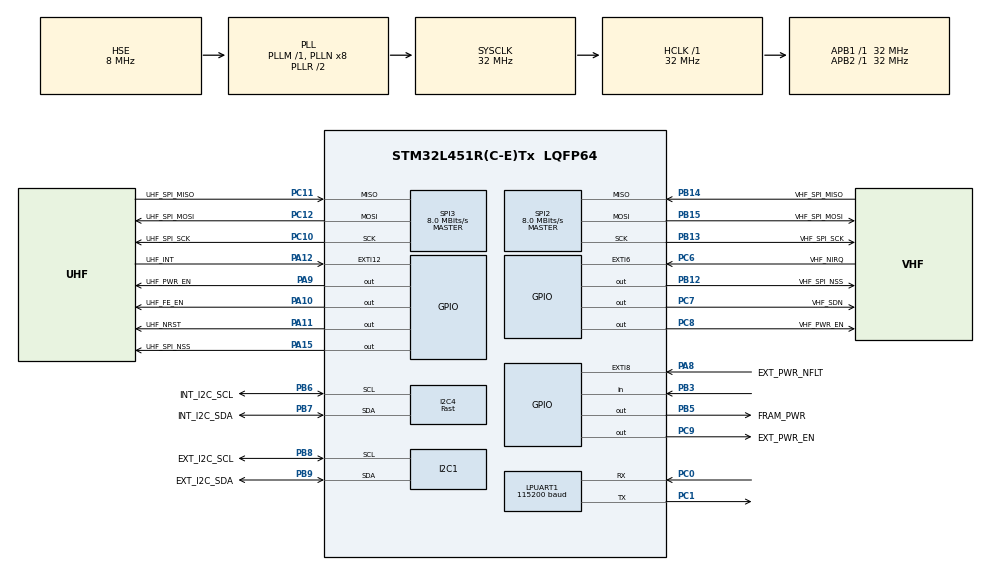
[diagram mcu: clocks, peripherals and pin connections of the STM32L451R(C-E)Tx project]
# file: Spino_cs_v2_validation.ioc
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I2C1.NoStretchMode=I2C_NOSTRETCH_DISABLE
I2C1.OwnAddress=0x00
I2C1.Timing=0x00B07CB4
I2C4.I2C_Speed_Mode=I2C_Fast
I2C4.NoStretchMode=I2C_NOSTRETCH_DISABLE
I2C4.Speed=100
I2C4.Timing=0x006039F7
LPUART1.BaudRate=115200
LPUART1.WordLength=UART_WORDLENGTH_8B
Mcu.Family=STM32L4
Mcu.Name=STM32L451R(C-E)Tx
Mcu.Package=LQFP64
NVIC.EXTI15_10_IRQn=true\:0\:0\:false\:false\:true\:true\:true\:true
NVIC.EXTI9_5_IRQn=true\:0\:0\:false\:false\:true\:true\:true\:true
NVIC.I2C1_EV_IRQn=true\:0\:0\:false\:false\:true\:true\:true\:true
NVIC.I2C4_ER_IRQn=true\:0\:0\:false\:false\:true\:true\:true\:true
NVIC.I2C4_EV_IRQn=true\:0\:0\:false\:false\:true\:true\:true\:true
NVIC.PriorityGroup=NVIC_PRIORITYGROUP_4
NVIC.TIM2_IRQn=true\:0\:0\:false\:false\:true\:true\:true\:true
PA10.GPIO_Label=UHF_FE_EN
PA10.Signal=GPIO_Output
PA11.GPIO_Label=UHF_NRST
PA11.Signal=GPIO_Output
PA12.GPIO_Label=UHF_INT
PA12.GPIO_ModeDefaultEXTI=GPIO_MODE_IT_FALLING
PA12.Signal=GPXTI12
PA15\ (JTDI).GPIO_Label=UHF_SPI_NSS
PA15\ (JTDI).Signal=GPIO_Output
PA8.GPIO_Label=EXT_PWR_NFLT
PA8.GPIO_ModeDefaultEXTI=GPIO_MODE_IT_FALLING
PA8.Signal=GPXTI8
PA9.GPIO_Label=UHF_PWR_EN
PA9.Signal=GPIO_Output
PB12.GPIO_Label=VHF_SPI_NSS
PB12.Signal=GPIO_Output
PB13.GPIO_Label=VHF_SPI_SCK
PB13.Mode=Full_Duplex_Master
PB13.Signal=SPI2_SCK
PB14.GPIO_Label=VHF_SPI_MISO
PB14.Mode=Full_Duplex_Master
PB14.Signal=SPI2_MISO
PB15.GPIO_Label=VHF_SPI_MOSI
PB15.Mode=Full_Duplex_Master
PB15.Signal=SPI2_MOSI
PB3\ (JTDO/TRACESWO).Signal=GPIO_Input
PB5.GPIO_Label=FRAM_PWR
PB5.Signal=GPIO_Output
PB6.GPIO_Label=INT_I2C_SCL
PB6.Mode=I2C
PB6.Signal=I2C4_SCL
PB7.GPIO_Label=INT_I2C_SDA
PB7.Mode=I2C
PB7.Signal=I2C4_SDA
PB8.GPIO_Label=EXT_I2C_SCL
PB8.Mode=I2C
PB8.Signal=I2C1_SCL
PB9.GPIO_Label=EXT_I2C_SDA
PB9.Mode=I2C
PB9.Signal=I2C1_SDA
PC0.Mode=Asynchronous
PC0.Signal=LPUART1_RX
PC1.Mode=Asynchronous
PC1.Signal=LPUART1_TX
PC10.GPIO_Label=UHF_SPI_SCK
PC10.Mode=Full_Duplex_Master
PC10.Signal=SPI3_SCK
PC11.GPIO_Label=UHF_SPI_MISO
PC11.Mode=Full_Duplex_Master
PC11.Signal=SPI3_MISO
PC12.GPIO_Label=UHF_SPI_MOSI
PC12.Mode=Full_Duplex_Master
PC12.Signal=SPI3_MOSI
PC14-OSC32_IN\ (PC14).Mode=LSE-External-Oscillator
PC14-OSC32_IN\ (PC14).Signal=RCC_OSC32_IN
PC15-OSC32_OUT\ (PC15).Mode=LSE-External-Oscillator
PC15-OSC32_OUT\ (PC15).Signal=RCC_OSC32_OUT
PC6.GPIO_Label=VHF_NIRQ
PC6.GPIO_ModeDefaultEXTI=GPIO_MODE_IT_FALLING
PC6.Signal=GPXTI6
PC7.GPIO_Label=VHF_SDN
PC7.Signal=GPIO_Output
PC8.GPIO_Label=VHF_PWR_EN
PC8.Signal=GPIO_Output
PC9.GPIO_Label=EXT_PWR_EN
PC9.Signal=GPIO_Output
PH0-OSC_IN\ (PH0).Mode=HSE-External-Oscillator
PH0-OSC_IN\ (PH0).Signal=RCC_OSC_IN
PH1-OSC_OUT\ (PH1).Mode=HSE-External-Oscillator
PH1-OSC_OUT\ (PH1).Signal=RCC_OSC_OUT
ProjectManager.HeapSize=0x200
ProjectManager.StackSize=0x400
ProjectManager.TargetToolchain=STM32CubeIDE
RCC.ADCFreq_Value=32000000
RCC.AHBFreq_Value=32000000
RCC.APB1Freq_Value=32000000
RCC.APB1TimFreq_Value=32000000
RCC.APB2Freq_Value=32000000
RCC.APB2TimFreq_Value=32000000
RCC.CortexFreq_Value=32000000
RCC.HCLKFreq_Value=32000000
RCC.HSE_VALUE=8000000
RCC.HSI48_VALUE=48000000
RCC.HSI_VALUE=16000000
RCC.MSI_VALUE=4000000
RCC.PLLSourceVirtual=RCC_PLLSOURCE_HSE
RCC.RTCClockSelection=RCC_RTCCLKSOURCE_LSE
RCC.SYSCLKFreq_VALUE=32000000
RCC.SYSCLKSource=RCC_SYSCLKSOURCE_PLLCLK
RCC.VCOOutputFreq_Value=64000000
SPI2.BaudRatePrescaler=SPI_BAUDRATEPRESCALER_4
SPI2.CalculateBaudRate=8.0 MBits/s
SPI2.DataSize=SPI_DATASIZE_8BIT
SPI2.Direction=SPI_DIRECTION_2LINES
SPI2.Mode=SPI_MODE_MASTER
SPI2.VirtualType=VM_MASTER
SPI3.BaudRatePrescaler=SPI_BAUDRATEPRESCALER_4
SPI3.CalculateBaudRate=8.0 MBits/s
SPI3.DataSize=SPI_DATASIZE_8BIT
SPI3.Direction=SPI_DIRECTION_2LINES
SPI3.Mode=SPI_MODE_MASTER
SPI3.VirtualType=VM_MASTER
TIM2.Period=999
TIM2.Prescaler=32000
VP_RTC_VS_RTC_Activate.Mode=RTC_Enabled
VP_TIM2_VS_ClockSourceINT.Mode=Internal
board=custom

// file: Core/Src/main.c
/* USER CODE BEGIN Header */
/**
 ******************************************************************************
 * @file : main.c
 * @brief : Main program body
 ******************************************************************************
 * @attention
 *
 * Copyright (c) 2024 STMicroelectronics.
 * All rights reserved.
 *
 * This software is licensed under terms that can be found in the LICENSE file
 * in the root directory of this software component.
 * If no LICENSE file comes with this software, it is provided AS-IS.
 *
 ******************************************************************************
 */
/* USER CODE END Header */
#include "main.h"

/* USER CODE BEGIN Includes */
#include "stdio.h"
#include "string.h"
#include "SI4463.h"
#include "ADF7030.h"
#include "core/control.h"
#include "core/setup.h"
#include "drivers/modem.h"
#include "payloadMode/payloadMode.h"
#include "SpinoDriver/spUART.h"
/* USER CODE END Includes */

/* USER CODE BEGIN PD */
//SPINO FUNCTIONAL
#define DELAY_SPINO 1000

//bessel start
#define VEML7700_ADDR 0x10 << 1 // Adresse I2C du VEML7700
//bessel end

#define SYSTICK_LOAD (SystemCoreClock/1000000U)
#define SYSTICK_DELAY_CALIB (SYSTICK_LOAD >> 1)

/* USER CODE END PD */

I2C_HandleTypeDef hi2c1;
I2C_HandleTypeDef hi2c4;

UART_HandleTypeDef hlpuart1;

RTC_HandleTypeDef hrtc;

SPI_HandleTypeDef hspi2;
SPI_HandleTypeDef hspi3;

TIM_HandleTypeDef htim2;

void SystemClock_Config(void);
static void MX_GPIO_Init(void);
static void MX_I2C1_Init(void);
static void MX_I2C4_Init(void);
static void MX_LPUART1_UART_Init(void);
static void MX_RTC_Init(void);
static void MX_SPI2_Init(void);
static void MX_SPI3_Init(void);
static void MX_TIM2_Init(void);
/* USER CODE BEGIN PFP */
extern void ModemOpen();
void SystemClock_Config(void);

/* USER CODE BEGIN PFP */

//bessel start
void VEML7700_WriteRegister(uint8_t reg, uint16_t value);
uint16_t VEML7700_ReadRegister(uint8_t reg);
void VEML7700_Init(void);
float VEML7700_GetLux(void);
void AfficherLumiere(float lux);
void I2C_Scan();
//bessel end

/* USER CODE END PFP */

/* USER CODE BEGIN 0 */

/* Gestion code Erreur au démarrage */
int gv_error_code;
int gv_error_subcode;
extern char gv_spino_data_avalable;
SI44_STATES current_vhf_state = IDLE;
extern uint8_t uhf_txbuffer[PAYLOAD_SIZE];
extern s_I2C_data gv_I2C_Write_Data[I2CMAXDATA];
volatile uint8_t CSKB_I2C_TX_BUFFER[I2C_BUFFER_SIZE];
volatile unsigned long long lv_RX_FETCH=0;

//bessel start

float lux = 0.0;

void I2C_Scan() {
    char msg[50]; // Augmentation de la taille du tampon pour snprintf
    uint8_t found = 0;

    snprintf(msg, sizeof(msg), "Scanning I2C...\r\n"); // Utilisation de snprintf
    writeUART((unsigned char*)msg, strlen(msg)); // Utilisation de strlen pour la taille

    for (uint8_t i = 0x10; i <=0x11 ; i++) {
        if (HAL_I2C_IsDeviceReady(&hi2c1, (i << 1), 1, 100) == HAL_OK) {
            snprintf(msg, sizeof(msg), "Device found at 0x%X\r\n", i); // Utilisation de snprintf
            writeUART((unsigned char*)msg, strlen(msg)); // Utilisation de strlen pour la taille
            found = 1;
        }
    }

    if (!found) {
        snprintf(msg, sizeof(msg), "No I2C device found!\r\n"); // Utilisation de snprintf
        writeUART((unsigned char*)msg, strlen(msg)); // Utilisation de strlen pour la taille
    }

    snprintf(msg, sizeof(msg), "Scan Complete\r\n"); // Utilisation de snprintf
    writeUART((unsigned char*)msg, strlen(msg)); // Utilisation de strlen pour la taille
}

// Fonction pour écrire une valeur dans un registre du capteur VEML7700
// Paramètres :
//   - reg : adresse du registre où écrire
//   - value : valeur 16 bits à écrire
// Fonction pour écrire une valeur dans un registre du capteur VEML7700
void VEML7700_WriteRegister(uint8_t reg, uint16_t value) {
    uint8_t data[3];
    data[0] = reg;
    data[1] = value & 0xFF;
    data[2] = (value >> 8) & 0xFF;
}

// Fonction pour lire un registre
uint16_t VEML7700_ReadRegister(uint8_t reg) {
    uint8_t data[2] = {0};
    return (data[1] << 8) | data[0]; // Conversion Little Endian
}

// Fonction pour initialiser le capteur VEML7700
// Configure le capteur avec un gain et un temps d'intégration par défaut
void VEML7700_Init(void) {
	VEML7700_WriteRegister(0x00, 0x0000);
    HAL_Delay(10);
}

// Fonction pour lire la valeur de luminosité mesurée par le VEML7700
// Retourne : la valeur en lux
float VEML7700_GetLux(void) {
	uint16_t raw = VEML7700_ReadRegister(0x04); // Lecture de la valeur brute du capteur
	return raw * 0.0036; // Conversion de la val eur brute en lux selon la documentation du capteur
}

// Fonction pour afficher la valeur de luminosité via l'UART
// Paramètre :
//   - lux : valeur de luminosité en lux
void AfficherLumiere(float lux) {
	char buffer[50]; // Tampon pour stocker le message formaté
	snprintf(buffer, sizeof(buffer), "Lux: %.2f lx\r\n", lux); // Formatage de la valeur
	writeUART((unsigned char*)buffer, strlen(buffer)); // Utilisation de strlen pour la taille
}
//bessel end

/* USER CODE END 0 */

int main(void)
{

  /* MCU Configuration--------------------------------------------------------*/

  /* Reset of all peripherals, Initializes the Flash interface and the Systick. */
  HAL_Init();

  /* Configure the system clock */
  SystemClock_Config();

  /* Initialize all configured peripherals */
  MX_GPIO_Init();
  MX_I2C1_Init();
  MX_I2C4_Init();
  MX_LPUART1_UART_Init();
  MX_RTC_Init();
  MX_SPI2_Init();
  MX_SPI3_Init();
  MX_TIM2_Init();
  /* USER CODE BEGIN 2 */

	/* Init vhf packet access */
	for(uint8_t i = 0; i < NB_FETCH; i++) {
		vhf_packet_accessor[i] = &vhf_packet[1 + i * (RX_FIFO_THRES+1)];
		// vhf_packet_accessor[i] = vhf_packet[1 + i * (RX_FIFO_THRES+1)];
	}

	/* Init Timer */
	HAL_TIM_Base_Start_IT(&htim2);

	/* Init OBC I2C Interruption */
	HAL_I2C_EnableListen_IT(&hi2c1);

	/* Init ADF7030 with blocking SPI *
	 * *
	 */
	uint8_t mode=0;
	config_ADF7030(mode);
	init_uhf_txbuffer();

	/* Init SI4461 with blocking
	 *
	 */
	MX_SPI2_Init();
	power_vhf(1);
	reset_si4463();
	HAL_Delay(20);

	uint8_t conf_stat = config_si4463();

	uint8_t chiprev = si446x_part_info();

	// Clearing all interrupt in the SI446x
	si446x_get_int_status(0, 0, 0);

	//init_rx_irq();
	HAL_Delay(1);

	VHF_rstfifo_startrx();

	current_vhf_state = RX_PENDING;

	/********** SPINO Functional Initialisation ********/

	setupGlobalVariable();
	inittlm();
	ModemOpen();
	setModemMode(gv_spinoConfig.spinoTXModemMode);

	/* Mode UART - A virer */
	// envoie version :)
	//unsigned char message[] = "SPINO UART 0.1";
	//writeUART(message, sizeof(message) );

	sendTLMWithoutDelay();

	//bessel start
	I2C_Scan();
	VEML7700_Init();
	//bessel end

  /* USER CODE END 2 */

  /* Infinite loop */
  /* USER CODE BEGIN WHILE */
	uint8_t ReArm_I2C = 0;

	while (1)
	{
		/** SPINO*/

		if(CSKB_I2C_TX_Complete || CSKB_I2C_RX_Complete) {
			ReArm_I2C = 1;
			if(CSKB_I2C_TX_Complete) {
				// Do something here

				CSKB_I2C_TX_Complete = 0;
			} else {
				// Use your data here
				gv_I2C_Write_Data[gv_spino.gv_nb_I2CMAXDATA].size = CSKB_I2C_RX_Size;
				for(uint8_t i = 0; i < CSKB_I2C_RX_Size; i++) {
					gv_I2C_Write_Data[gv_spino.gv_nb_I2CMAXDATA].data[i] = CSKB_I2C_RX_BUFFER[i];
				}
				gv_spino.gv_nb_I2CMAXDATA = ((gv_spino.gv_nb_I2CMAXDATA+1) % I2CMAXDATA );

				// Use CSKB_I2C_NXT_FrameSize if you want the slave to stop transmission after byte count
				// Set to zero if you want the slave to continue answering up to I2C_BUFFER_SIZE
				CSKB_I2C_NXT_FrameSize = CSKB_I2C_RX_Size;

				CSKB_I2C_RX_Complete = 0;
			}

		}
		if(ReArm_I2C && HAL_I2C_GetState(&hi2c1) == HAL_I2C_STATE_READY) {
			ReArm_I2C = 0;
			HAL_I2C_EnableListen_IT(&hi2c1);
		}

		/** SPINO */
		if(VHF_Data_Ready == 1) {
			// Process your data from VHF radio
			lv_RX_FETCH =0;
			gv_spino_data_avalable=1;
			readDataRX(vhf_packet_accessor);
			VHF_Data_Ready = 0;
			si446x_get_int_status(0, 0, 0);
			VHF_fifo_data_count = 0;
			VHF_rstfifo_startrx();
			current_vhf_state = RX_PENDING;
		} else if(vhf_overflow) {
			// Problem to fetch data

		}

		// BLocking uart transmit
		//char test_uart[] = "test uart 115200\n";
		//HAL_UART_Transmit(&huart1, test_uart, sizeof(test_uart), HAL_MAX_DELAY);
		//writeUART("Hello world", 100);

		//*****SPINO Functional State Machine
		control();
		HAL_Delay(500);
		// Reset en cas de Rx bloque
		if((lv_RX_FETCH !=0) && ( (gv_spino.timestamps - lv_RX_FETCH) > 200 ) )
		{
			reset_si4463();
			HAL_Delay(20);

			uint8_t conf_stat = config_si4463();

			uint8_t chiprev = si446x_part_info();

			// Clearing all interrupt in the SI446x
			si446x_get_int_status(0, 0, 0);

			VHF_rstfifo_startrx();
			current_vhf_state = RX_PENDING;
			VHF_fifo_data_count =0;
		}
    /* USER CODE END WHILE */

    /* USER CODE BEGIN 3 */

		//bessel start
		float lux = VEML7700_GetLux();
		AfficherLumiere(lux);
		HAL_Delay(2000);
		//bessel end

	}
  /* USER CODE END 3 */
}

void SystemClock_Config(void)
{
  RCC_OscInitTypeDef RCC_OscInitStruct = {0};
  RCC_ClkInitTypeDef RCC_ClkInitStruct = {0};

  /** Configure the main internal regulator output voltage
  */
  if (HAL_PWREx_ControlVoltageScaling(PWR_REGULATOR_VOLTAGE_SCALE1) != HAL_OK)
  {
    Error_Handler();
  }

  /** Configure LSE Drive Capability
  */
  HAL_PWR_EnableBkUpAccess();
  __HAL_RCC_LSEDRIVE_CONFIG(RCC_LSEDRIVE_LOW);

  /** Initializes the RCC Oscillators according to the specified parameters
  * in the RCC_OscInitTypeDef structure.
  */
  RCC_OscInitStruct.OscillatorType = RCC_OSCILLATORTYPE_HSE|RCC_OSCILLATORTYPE_LSE;
  RCC_OscInitStruct.HSEState = RCC_HSE_ON;
  RCC_OscInitStruct.LSEState = RCC_LSE_ON;
  RCC_OscInitStruct.PLL.PLLState = RCC_PLL_ON;
  RCC_OscInitStruct.PLL.PLLSource = RCC_PLLSOURCE_HSE;
  RCC_OscInitStruct.PLL.PLLM = 1;
  RCC_OscInitStruct.PLL.PLLN = 8;
  RCC_OscInitStruct.PLL.PLLP = RCC_PLLP_DIV7;
  RCC_OscInitStruct.PLL.PLLQ = RCC_PLLQ_DIV2;
  RCC_OscInitStruct.PLL.PLLR = RCC_PLLR_DIV2;
  if (HAL_RCC_OscConfig(&RCC_OscInitStruct) != HAL_OK)
  {
    Error_Handler();
  }

  /** Initializes the CPU, AHB and APB buses clocks
  */
  RCC_ClkInitStruct.ClockType = RCC_CLOCKTYPE_HCLK|RCC_CLOCKTYPE_SYSCLK
                              |RCC_CLOCKTYPE_PCLK1|RCC_CLOCKTYPE_PCLK2;
  RCC_ClkInitStruct.SYSCLKSource = RCC_SYSCLKSOURCE_PLLCLK;
  RCC_ClkInitStruct.AHBCLKDivider = RCC_SYSCLK_DIV1;
  RCC_ClkInitStruct.APB1CLKDivider = RCC_HCLK_DIV1;
  RCC_ClkInitStruct.APB2CLKDivider = RCC_HCLK_DIV1;

  if (HAL_RCC_ClockConfig(&RCC_ClkInitStruct, FLASH_LATENCY_1) != HAL_OK)
  {
    Error_Handler();
  }
}

static void MX_I2C1_Init(void)
{

  hi2c1.Instance = I2C1;
  hi2c1.Init.Timing = 0x00B07CB4;
  hi2c1.Init.OwnAddress1 = 0;
  hi2c1.Init.AddressingMode = I2C_ADDRESSINGMODE_7BIT;
  hi2c1.Init.DualAddressMode = I2C_DUALADDRESS_DISABLE;
  hi2c1.Init.OwnAddress2 = 0;
  hi2c1.Init.OwnAddress2Masks = I2C_OA2_NOMASK;
  hi2c1.Init.GeneralCallMode = I2C_GENERALCALL_DISABLE;
  hi2c1.Init.NoStretchMode = I2C_NOSTRETCH_DISABLE;
  if (HAL_I2C_Init(&hi2c1) != HAL_OK)
  {
    Error_Handler();
  }

  /** Configure Analogue filter
  */
  if (HAL_I2CEx_ConfigAnalogFilter(&hi2c1, I2C_ANALOGFILTER_ENABLE) != HAL_OK)
  {
    Error_Handler();
  }

  /** Configure Digital filter
  */
  if (HAL_I2CEx_ConfigDigitalFilter(&hi2c1, 0) != HAL_OK)
  {
    Error_Handler();
  }

}

static void MX_I2C4_Init(void)
{

  hi2c4.Instance = I2C4;
  hi2c4.Init.Timing = 0x006039F7;
  hi2c4.Init.OwnAddress1 = 0;
  hi2c4.Init.AddressingMode = I2C_ADDRESSINGMODE_7BIT;
  hi2c4.Init.DualAddressMode = I2C_DUALADDRESS_DISABLE;
  hi2c4.Init.OwnAddress2 = 0;
  hi2c4.Init.OwnAddress2Masks = I2C_OA2_NOMASK;
  hi2c4.Init.GeneralCallMode = I2C_GENERALCALL_DISABLE;
  hi2c4.Init.NoStretchMode = I2C_NOSTRETCH_DISABLE;
  if (HAL_I2C_Init(&hi2c4) != HAL_OK)
  {
    Error_Handler();
  }

  /** Configure Analogue filter
  */
  if (HAL_I2CEx_ConfigAnalogFilter(&hi2c4, I2C_ANALOGFILTER_ENABLE) != HAL_OK)
  {
    Error_Handler();
  }

  /** Configure Digital filter
  */
  if (HAL_I2CEx_ConfigDigitalFilter(&hi2c4, 0) != HAL_OK)
  {
    Error_Handler();
  }

}

static void MX_LPUART1_UART_Init(void)
{

  hlpuart1.Instance = LPUART1;
  hlpuart1.Init.BaudRate = 115200;
  hlpuart1.Init.WordLength = UART_WORDLENGTH_8B;
  hlpuart1.Init.StopBits = UART_STOPBITS_1;
  hlpuart1.Init.Parity = UART_PARITY_NONE;
  hlpuart1.Init.Mode = UART_MODE_TX_RX;
  hlpuart1.Init.HwFlowCtl = UART_HWCONTROL_NONE;
  hlpuart1.Init.OneBitSampling = UART_ONE_BIT_SAMPLE_DISABLE;
  hlpuart1.AdvancedInit.AdvFeatureInit = UART_ADVFEATURE_NO_INIT;
  if (HAL_UART_Init(&hlpuart1) != HAL_OK)
  {
    Error_Handler();
  }

}

static void MX_RTC_Init(void)
{

  /** Initialize RTC Only
  */
  hrtc.Instance = RTC;
  hrtc.Init.HourFormat = RTC_HOURFORMAT_24;
  hrtc.Init.AsynchPrediv = 127;
  hrtc.Init.SynchPrediv = 255;
  hrtc.Init.OutPut = RTC_OUTPUT_DISABLE;
  hrtc.Init.OutPutRemap = RTC_OUTPUT_REMAP_NONE;
  hrtc.Init.OutPutPolarity = RTC_OUTPUT_POLARITY_HIGH;
  hrtc.Init.OutPutType = RTC_OUTPUT_TYPE_OPENDRAIN;
  if (HAL_RTC_Init(&hrtc) != HAL_OK)
  {
    Error_Handler();
  }

}

static void MX_SPI2_Init(void)
{

  /* SPI2 parameter configuration*/
  hspi2.Instance = SPI2;
  hspi2.Init.Mode = SPI_MODE_MASTER;
  hspi2.Init.Direction = SPI_DIRECTION_2LINES;
  hspi2.Init.DataSize = SPI_DATASIZE_8BIT;
  hspi2.Init.CLKPolarity = SPI_POLARITY_LOW;
  hspi2.Init.CLKPhase = SPI_PHASE_1EDGE;
  hspi2.Init.NSS = SPI_NSS_SOFT;
  hspi2.Init.BaudRatePrescaler = SPI_BAUDRATEPRESCALER_4;
  hspi2.Init.FirstBit = SPI_FIRSTBIT_MSB;
  hspi2.Init.TIMode = SPI_TIMODE_DISABLE;
  hspi2.Init.CRCCalculation = SPI_CRCCALCULATION_DISABLE;
  hspi2.Init.CRCPolynomial = 7;
  hspi2.Init.CRCLength = SPI_CRC_LENGTH_DATASIZE;
  hspi2.Init.NSSPMode = SPI_NSS_PULSE_ENABLE;
  if (HAL_SPI_Init(&hspi2) != HAL_OK)
  {
    Error_Handler();
  }

}

static void MX_SPI3_Init(void)
{

  /* SPI3 parameter configuration*/
  hspi3.Instance = SPI3;
  hspi3.Init.Mode = SPI_MODE_MASTER;
  hspi3.Init.Direction = SPI_DIRECTION_2LINES;
  hspi3.Init.DataSize = SPI_DATASIZE_8BIT;
  hspi3.Init.CLKPolarity = SPI_POLARITY_LOW;
  hspi3.Init.CLKPhase = SPI_PHASE_1EDGE;
  hspi3.Init.NSS = SPI_NSS_SOFT;
  hspi3.Init.BaudRatePrescaler = SPI_BAUDRATEPRESCALER_4;
  hspi3.Init.FirstBit = SPI_FIRSTBIT_MSB;
  hspi3.Init.TIMode = SPI_TIMODE_DISABLE;
  hspi3.Init.CRCCalculation = SPI_CRCCALCULATION_DISABLE;
  hspi3.Init.CRCPolynomial = 7;
  hspi3.Init.CRCLength = SPI_CRC_LENGTH_DATASIZE;
  hspi3.Init.NSSPMode = SPI_NSS_PULSE_ENABLE;
  if (HAL_SPI_Init(&hspi3) != HAL_OK)
  {
    Error_Handler();
  }

}

static void MX_TIM2_Init(void)
{

  TIM_ClockConfigTypeDef sClockSourceConfig = {0};
  TIM_MasterConfigTypeDef sMasterConfig = {0};

  htim2.Instance = TIM2;
  htim2.Init.Prescaler = 32000;
  htim2.Init.CounterMode = TIM_COUNTERMODE_UP;
  htim2.Init.Period = 999;
  htim2.Init.ClockDivision = TIM_CLOCKDIVISION_DIV1;
  htim2.Init.AutoReloadPreload = TIM_AUTORELOAD_PRELOAD_DISABLE;
  if (HAL_TIM_Base_Init(&htim2) != HAL_OK)
  {
    Error_Handler();
  }
  sClockSourceConfig.ClockSource = TIM_CLOCKSOURCE_INTERNAL;
  if (HAL_TIM_ConfigClockSource(&htim2, &sClockSourceConfig) != HAL_OK)
  {
    Error_Handler();
  }
  sMasterConfig.MasterOutputTrigger = TIM_TRGO_RESET;
  sMasterConfig.MasterSlaveMode = TIM_MASTERSLAVEMODE_DISABLE;
  if (HAL_TIMEx_MasterConfigSynchronization(&htim2, &sMasterConfig) != HAL_OK)
  {
    Error_Handler();
  }

}

static void MX_GPIO_Init(void)
{
  GPIO_InitTypeDef GPIO_InitStruct = {0};

  /* GPIO Ports Clock Enable */
  __HAL_RCC_GPIOC_CLK_ENABLE();
  __HAL_RCC_GPIOH_CLK_ENABLE();
  __HAL_RCC_GPIOB_CLK_ENABLE();
  __HAL_RCC_GPIOA_CLK_ENABLE();

  /*Configure GPIO pin Output Level */
  HAL_GPIO_WritePin(GPIOB, VHF_SPI_NSS_Pin|FRAM_PWR_Pin, GPIO_PIN_RESET);

  /*Configure GPIO pin Output Level */
  HAL_GPIO_WritePin(GPIOC, VHF_SDN_Pin|VHF_PWR_EN_Pin|EXT_PWR_EN_Pin, GPIO_PIN_RESET);

  /*Configure GPIO pin Output Level */
  HAL_GPIO_WritePin(GPIOA, UHF_PWR_EN_Pin|UHF_FE_EN_Pin|UHF_NRST_Pin|UHF_SPI_NSS_Pin, GPIO_PIN_RESET);

  /*Configure GPIO pins : VHF_SPI_NSS_Pin FRAM_PWR_Pin */
  GPIO_InitStruct.Pin = VHF_SPI_NSS_Pin|FRAM_PWR_Pin;
  GPIO_InitStruct.Mode = GPIO_MODE_OUTPUT_PP;
  GPIO_InitStruct.Pull = GPIO_NOPULL;
  GPIO_InitStruct.Speed = GPIO_SPEED_FREQ_LOW;
  HAL_GPIO_Init(GPIOB, &GPIO_InitStruct);

  /*Configure GPIO pin : VHF_NIRQ_Pin */
  GPIO_InitStruct.Pin = VHF_NIRQ_Pin;
  GPIO_InitStruct.Mode = GPIO_MODE_IT_FALLING;
  GPIO_InitStruct.Pull = GPIO_NOPULL;
  HAL_GPIO_Init(VHF_NIRQ_GPIO_Port, &GPIO_InitStruct);

  /*Configure GPIO pins : VHF_SDN_Pin VHF_PWR_EN_Pin EXT_PWR_EN_Pin */
  GPIO_InitStruct.Pin = VHF_SDN_Pin|VHF_PWR_EN_Pin|EXT_PWR_EN_Pin;
  GPIO_InitStruct.Mode = GPIO_MODE_OUTPUT_PP;
  GPIO_InitStruct.Pull = GPIO_NOPULL;
  GPIO_InitStruct.Speed = GPIO_SPEED_FREQ_LOW;
  HAL_GPIO_Init(GPIOC, &GPIO_InitStruct);

  /*Configure GPIO pins : EXT_PWR_NFLT_Pin UHF_INT_Pin */
  GPIO_InitStruct.Pin = EXT_PWR_NFLT_Pin|UHF_INT_Pin;
  GPIO_InitStruct.Mode = GPIO_MODE_IT_FALLING;
  GPIO_InitStruct.Pull = GPIO_NOPULL;
  HAL_GPIO_Init(GPIOA, &GPIO_InitStruct);

  /*Configure GPIO pins : UHF_PWR_EN_Pin UHF_FE_EN_Pin UHF_NRST_Pin UHF_SPI_NSS_Pin */
  GPIO_InitStruct.Pin = UHF_PWR_EN_Pin|UHF_FE_EN_Pin|UHF_NRST_Pin|UHF_SPI_NSS_Pin;
  GPIO_InitStruct.Mode = GPIO_MODE_OUTPUT_PP;
  GPIO_InitStruct.Pull = GPIO_NOPULL;
  GPIO_InitStruct.Speed = GPIO_SPEED_FREQ_LOW;
  HAL_GPIO_Init(GPIOA, &GPIO_InitStruct);

  /*Configure GPIO pin : PB3 */
  GPIO_InitStruct.Pin = GPIO_PIN_3;
  GPIO_InitStruct.Mode = GPIO_MODE_INPUT;
  GPIO_InitStruct.Pull = GPIO_NOPULL;
  HAL_GPIO_Init(GPIOB, &GPIO_InitStruct);

  /* EXTI interrupt init*/
  HAL_NVIC_SetPriority(EXTI9_5_IRQn, 0, 0);
  HAL_NVIC_EnableIRQ(EXTI9_5_IRQn);

  HAL_NVIC_SetPriority(EXTI15_10_IRQn, 0, 0);
  HAL_NVIC_EnableIRQ(EXTI15_10_IRQn);

}

/* USER CODE BEGIN 4 */
/**
 * @brief This function handles EXTI line[9:5] interrupts.
 */
void EXTI9_5_IRQHandler(void)
{
	/* USER CODE BEGIN EXTI9_5_IRQn 0 */
	if(__HAL_GPIO_EXTI_GET_FLAG(VHF_NIRQ_Pin)){
		if(current_vhf_state != IDLE) {
			switch(current_vhf_state) {
			case RX_PENDING:
				// Fetch interrupt status to decide what to do
				// Expected interrupt are:
				// RX_FIFO_THRESHOLD => fetch an other 48byte of data
				// RX_PACKET => Validate the packet
				current_vhf_state = FETCHING_STATUS;
				lv_RX_FETCH = gv_spino.timestamps;
				HAL_GPIO_WritePin(GPIOB, VHF_SPI_NSS_Pin, GPIO_PIN_RESET);

				packet_done = 0;
				zero_buff[0] = SI446X_CMD_ID_GET_INT_STATUS;
				zero_buff[1] = 0;
				zero_buff[2] = 0;
				zero_buff[3] = 0;
				HAL_SPI_TransmitReceive_IT(&hspi2, zero_buff, rx_data, 4);

				break;
			default:
				vhf_overflow = 1;
				break;
			}
		}
	}

	/* USER CODE END EXTI9_5_IRQn 0 */
	HAL_GPIO_EXTI_IRQHandler(VHF_NIRQ_Pin);
	HAL_GPIO_EXTI_IRQHandler(EXT_PWR_NFLT_Pin);
	/* USER CODE BEGIN EXTI9_5_IRQn 1 */

	/* USER CODE END EXTI9_5_IRQn 1 */
}

/* I2C slave callback */
void HAL_I2C_SlaveTxCpltCallback(I2C_HandleTypeDef *I2cHandle)
{
	/* TX transfer is complete */

	//CSKB_I2C_TX_Complete = 1;
	//CSKB_I2C_TX_Size = I2C_BUFFER_SIZE;
}

void HAL_I2C_SlaveRxCpltCallback(I2C_HandleTypeDef *I2cHandle)
{
	/* RX transfer is complete */

	//CSKB_I2C_RX_Complete = 1;
	//CSKB_I2C_RX_Size = I2C_BUFFER_SIZE;
}

void HAL_I2C_AddrCallback(I2C_HandleTypeDef *hi2c, uint8_t TransferDirection, uint16_t AddrMatchCode) {
	/* Slave matched his address */
	if (TransferDirection != 0) {
		/* I2C Transmit buffer */
		CSKB_I2C_Dir = I2C_TX;
		uint8_t framesize = (CSKB_I2C_NXT_FrameSize == 0) ? I2C_BUFFER_SIZE : CSKB_I2C_NXT_FrameSize;
		if (HAL_I2C_Slave_Seq_Transmit_IT(hi2c, (uint8_t *)CSKB_I2C_TX_BUFFER, framesize, I2C_FIRST_AND_LAST_FRAME) != HAL_OK) {
			/* Transfer error in transmission process */
			Error_Handler();
		}
	} else {
		CSKB_I2C_Dir = I2C_RX;
		/* I2C Receive on the rx buffer*/
		if (HAL_I2C_Slave_Seq_Receive_IT(hi2c, (uint8_t *)CSKB_I2C_RX_BUFFER, I2C_BUFFER_SIZE, I2C_FIRST_AND_LAST_FRAME) != HAL_OK) {
			/* Transfer error in reception process */
			Error_Handler();
		}
	}

}

void HAL_I2C_ListenCpltCallback(I2C_HandleTypeDef *hi2c)
{
	/* Handling here incomplete RX/TX with dirty hack */
	if (CSKB_I2C_Dir == I2C_TX) {
		CSKB_I2C_TX_Complete = 1;
		CSKB_I2C_TX_Size = (CSKB_I2C_NXT_FrameSize == 0) ? I2C_BUFFER_SIZE - hi2c->XferSize : CSKB_I2C_NXT_FrameSize - hi2c->XferSize;
	} else if (CSKB_I2C_Dir == I2C_RX) {
		CSKB_I2C_RX_Complete = 1;
		CSKB_I2C_RX_Size = I2C_BUFFER_SIZE - hi2c->XferSize;
	}
	CSKB_I2C_Dir = I2C_NONE;
}

void HAL_I2C_ErrorCallback(I2C_HandleTypeDef *I2cHandle)
{
	/** Error_Handler() function is called when error occurs.
	 * 1- When Slave doesn't acknowledge its address, Master restarts communication.
	 * 2- When Master doesn't acknowledge the last data transferred, Slave doesn't care in this example.
	 */
	/*if (HAL_I2C_GetError(I2cHandle) != HAL_I2C_ERROR_AF)
{
Error_Handler();
}*/
	// Really dirty trick no warranties
	if ((HAL_I2C_GetError(I2cHandle) == HAL_I2C_ERROR_AF) && (HAL_I2C_GetState(I2cHandle) != HAL_I2C_STATE_BUSY)) {
		return; // no real error!!!
	}
}

void HAL_TIM_PeriodElapsedCallback(TIM_HandleTypeDef* htim) {
	if (htim->Instance == htim2.Instance) {
		ms_counter++;
	}
}

void SPI2_IRQHandler(void)
{
	HAL_SPI_IRQHandler(&hspi2);
}

void HAL_SPI_TxRxCpltCallback(SPI_HandleTypeDef *hspi) {
	if(hspi->Instance == SPI2) {
		if (current_vhf_state == FETCHING_STATUS) {
			HAL_GPIO_WritePin(GPIOB, VHF_SPI_NSS_Pin, GPIO_PIN_SET);
			current_vhf_state = CTS_POLLING;
			si446x_cts_it_poll();
		} else if(current_vhf_state == CTS_POLLING) {
			if(rx_data[1] != 0xFF) {
				HAL_GPIO_WritePin(GPIOB, VHF_SPI_NSS_Pin, GPIO_PIN_SET);
				//HAL_Delay(1);
				__NOP();
				__NOP();
				__NOP();
				si446x_cts_it_poll();
			} else {
				current_vhf_state = STATUS_PENDING;
				HAL_SPI_TransmitReceive_IT(&hspi2, zero_buff, rx_data, 8);
			}
		} else if(current_vhf_state == STATUS_PENDING) {
			HAL_GPIO_WritePin(GPIOB, VHF_SPI_NSS_Pin, GPIO_PIN_SET);

			current_vhf_state = STATUS_OK;

			/*uint8_t INT_PEND = rx_data[0];
uint8_t INT_STATUS = rx_data[1];*/
			uint8_t PH_PEND = rx_data[2];
			/*uint8_t PH_STATUS = rx_data[3];
uint8_t MODEM_PEND = rx_data[4];
uint8_t MODEM_STATUS = rx_data[5];
uint8_t CHIP_PEND = rx_data[6];
uint8_t CHIP_STATUS = rx_data[7];*/

			uint8_t fifo_thresh = (PH_PEND & SI446X_CMD_GET_INT_STATUS_REP_PH_STATUS_RX_FIFO_ALMOST_FULL_BIT);
			uint8_t rx_packet = ((PH_PEND & SI446X_CMD_GET_INT_STATUS_REP_PH_PEND_PACKET_RX_PEND_BIT) << 1);

			if(fifo_thresh) {
				HAL_GPIO_WritePin(GPIOB, VHF_SPI_NSS_Pin, GPIO_PIN_RESET);
				zero_buff[0] = SI446X_CMD_ID_READ_RX_FIFO;

				current_vhf_state = FETCHING_DATA;
				VHF_fifo_data_count++;

				// Need to accomodate for the extra byte from the command
				HAL_SPI_TransmitReceive_IT(&hspi2, zero_buff, &vhf_packet[(VHF_fifo_data_count-1) * (RX_FIFO_THRES+1)], RX_FIFO_THRES + 1);
			}
		} else if (current_vhf_state == FETCHING_DATA) {
			HAL_GPIO_WritePin(GPIOB, VHF_SPI_NSS_Pin, GPIO_PIN_SET);
			if(VHF_fifo_data_count == NB_FETCH) {
				VHF_Data_Ready = 1;
				current_vhf_state = IDLE;
			} else {
				current_vhf_state = RX_PENDING;
			}
		}
	}
}
/* USER CODE END 4 */

void Error_Handler(void)
{
  /* USER CODE BEGIN Error_Handler_Debug */
	/* User can add his own implementation to report the HAL error return state */
	__disable_irq();
	/* WTF ? ! We shouldn't be here ! */
	NVIC_SystemReset();
	while (1)
	{
	}
  /* USER CODE END Error_Handler_Debug */
}
